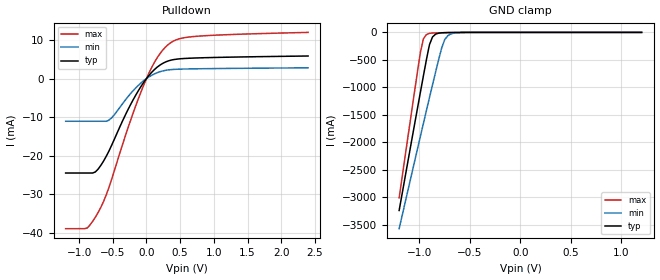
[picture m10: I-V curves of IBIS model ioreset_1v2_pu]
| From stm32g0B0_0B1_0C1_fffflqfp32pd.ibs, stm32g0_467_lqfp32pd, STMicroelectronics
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|   Model ioreset_1v2_pu
[Model]  ioreset_1v2_pu
Model_type I/O_open_drain
Polarity   Inverting
Enable   Active-High
Vinl =   0.360000V
Vinh =   0.840000V
Vmeas =  0.600000V
Cref =   100.000000nF
Rref =   1.000000k
Vref =   1.200000V
C_comp   0.478720pF   0.386870pF   0.488870pF
[Temperature Range]   25.000000   0.125000k   -40.000000
[Pullup Reference]   1.200000V   1.080000V   1.320000V
[Pulldown Reference]   0.0V   0.0V   0.0V
[POWER Clamp Reference]   1.200000V   1.080000V   1.320000V
[GND Clamp Reference]   0.0V   0.0V   0.0V
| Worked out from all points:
|   slope of the pulldown table from 0 to 0.18 V, typ, clamps not added: 55.7 ohm
|   GND clamp passes 1 mA (typ) near -0.60 V on its own axis
[Pulldown]
|Voltage   I(typ)   I(min)   I(max)
-1.2V     -24.47mA   -11.06mA   -38.87mA
-880mV    -24.47mA   -11.06mA   -38.7mA
-720mV    -23.49mA   -11.06mA   -34.76mA
-600mV    -20.22mA   -11.06mA   -30.25mA
-520mV    -17.39mA   -10.23mA   -26.24mA
-240mV    -6.868mA   -3.965mA   -11.02mA
-40mV     -966.2uA   -522.8uA   -1.659mA
120mV     2.364mA    1.225mA    4.26mA
320mV     4.547mA    2.231mA    8.763mA
480mV     5.089mA    2.429mA    10.27mA
720mV     5.323mA    2.523mA    10.91mA
2.4V      5.843mA    2.784mA    11.96mA
[GND_clamp]
|Voltage   I(typ)   I(min)   I(max)
-1.2V     -3.237A    -3.567A    -3.007A
-990mV    -1.09A     -1.891A    -366.7mA
-960mV    -790.4mA   -1.655A    -117.3mA
-930mV    -495.2mA   -1.419A    -39.03mA
-900mV    -224mA     -1.186A    -17.33mA
-870mV    -83.94mA   -954.7mA   -11.02mA
-780mV    -7.786mA   -289.5mA   -5.907mA
-750mV    -4.95mA    -134.8mA   -4.824mA
-720mV    -3.507mA   -62.23mA   -3.833mA
-660mV    -1.911mA   -14.46mA   -2.15mA
-540mV    -364.7uA   -1.228mA   -309.9uA
1.2V      0A         0A         0A
[POWER_clamp]
|Voltage   I(typ)   I(min)   I(max)
-1.2V     0A         0A         0A
0V        0A         0A         0A
[Ramp]
| variable   typ   min   max
dV/dt_r  0.71922/0.66867u   0.64662/0.60089u   0.79151/0.60032u
dV/dt_f  0.71922/37.98593n   0.64662/77.79078n   0.79151/22.11929n
R_load = 40.000000k
